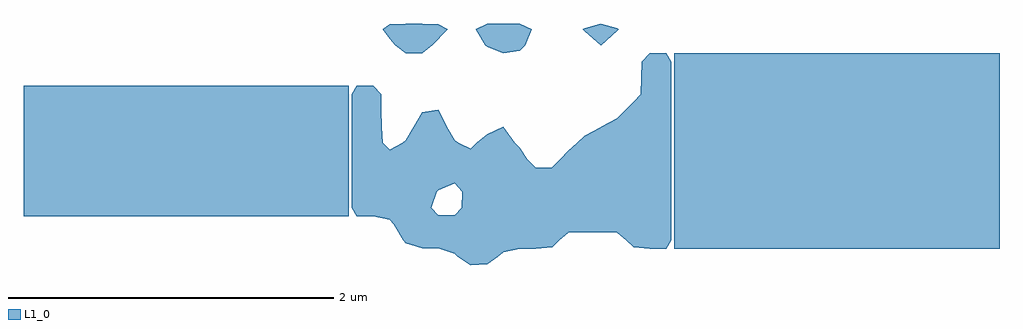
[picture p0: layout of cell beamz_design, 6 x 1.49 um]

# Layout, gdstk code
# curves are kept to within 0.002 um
import gdstk
lib = gdstk.Library(unit=1e-6, precision=1e-09)
def R(c, l, rs):  # rectangles x0, y0, x1, y1
    for r in rs: c.add(gdstk.rectangle(r[:2], r[2:], *l))
def P(c, l, *ps):  # polygons
    for p in ps: c.add(gdstk.Polygon(p, *l))
L1_0 = (1, 0)

beamz_design = lib.new_cell('beamz_design')
R(beamz_design, L1_0, [(4,1.4,6,2.6), (0,1.6,2,2.4)])
P(beamz_design, L1_0, [(2.75,1.297),(2.669,1.35),(2.65,1.367),(2.55,1.401),(2.45,1.402),(2.35,1.433),(2.333,1.45),(2.276,1.55),(2.25,1.576),(2.15,1.6),(2.05,1.6),(2.017,1.65),(2.017,1.802),(2.65,1.802),(2.55,1.759),(2.541,1.75),(2.508,1.65),(2.55,1.604),(2.65,1.604),(2.694,1.65),(2.696,1.75),(2.65,1.802),(2.017,1.802),(2.017,2.35),(2.05,2.4),(2.15,2.4),(2.2,2.35),(2.201,2.15),(2.209,2.05),(2.25,2.007),(2.33,2.05),(2.35,2.065),(2.45,2.237),(2.55,2.254),(2.601,2.15),(2.65,2.065),(2.673,2.05),(2.75,2.014),(2.787,2.05),(2.85,2.103),(2.95,2.148),(3.021,2.05),(3.05,2.019),(3.097,1.95),(3.15,1.897),(3.25,1.901),(3.35,2.001),(3.45,2.094),(3.65,2.202),(3.7,2.25),(3.794,2.35),(3.8,2.55),(3.85,2.6),(3.95,2.6),(3.983,2.55),(3.983,1.45),(3.95,1.4),(3.85,1.4),(3.75,1.408),(3.65,1.496),(3.55,1.501),(3.45,1.501),(3.35,1.496),(3.25,1.409),(3.15,1.4),(3.05,1.398),(2.95,1.379),(2.85,1.304)],
  [(2.35,2.601),(2.285,2.65),(2.25,2.69),(2.207,2.75),(2.25,2.778),(2.35,2.783),(2.45,2.783),(2.55,2.779),(2.607,2.75),(2.512,2.65),(2.45,2.602)],
  [(2.95,2.601),(2.85,2.64),(2.84,2.65),(2.781,2.75),(2.85,2.781),(2.95,2.783),(3.05,2.783),(3.124,2.75),(3.085,2.65),(3.05,2.616)],
  [(3.55,2.649),(3.549,2.65),(3.45,2.737),(3.439,2.75),(3.45,2.755),(3.55,2.781),(3.65,2.755),(3.66,2.75),(3.65,2.739),(3.551,2.65)])

lib.write_gds('beamz_design.gds')
